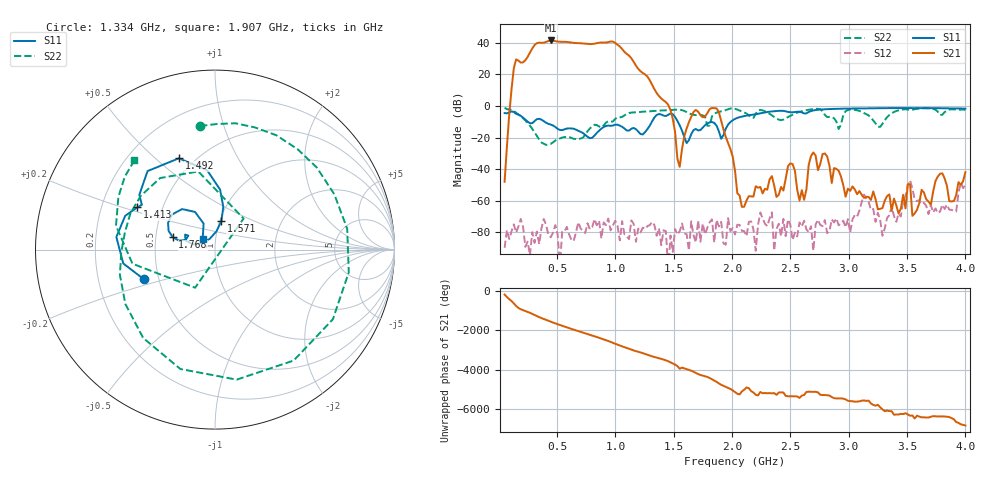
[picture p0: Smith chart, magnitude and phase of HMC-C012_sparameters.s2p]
!Hittite Microwave Corporation
!20 Alpha Road
!Chelmsford, MA 01824
!Tel: 978-250-3343
!Fax: 978-250-3373
!Device: HMC-C012,0.4-1.0 GHz, 10W PA Module
!Misc: Vdd = +12V, Idd = 6.5 A, Room Temperature
# GHZ S DB R 50
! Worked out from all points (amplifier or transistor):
!   201 points, 50 MHz to 4 GHz, reference 50 ohm
!   highest |S21| = 41.3 dB at 445 MHz (marker M1)
!   |S21| within 3 dB of that: 305.8 MHz to 1.024 GHz (717.8 MHz wide, 108 % of centre)
!   unconditionally stable (mu >= 1): start of sweep to end of sweep
!   at 701.8 MHz: K = 38.18, MAG = 39.7 dB, |S12| = -77.5 dB
!   at 2.025 GHz: K = 192968.79, MAG = -35.6 dB, |S12| = -81.3 dB
!   at 4 GHz: K = 2848.34, MAG = -33.5 dB, |S12| = -50.0 dB
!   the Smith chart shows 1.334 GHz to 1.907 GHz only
!   S11 on the Smith chart (normalised r, x): 1.334 GHz: 0.41, -0.17; 1.413 GHz: 0.36, +0.22; 1.492 GHz: 0.41, +0.60; 1.571 GHz: 1.02, +0.34; 1.768 GHz: 0.61, +0.09; 1.907 GHz: 0.87, +0.11
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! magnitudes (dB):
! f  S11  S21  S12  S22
! 50 MHz  -4.5  -47.9  -89.7  -1.2
! 148.8 MHz  -5.1  29.4  -80.0  -4.3
! 445 MHz  -11.8  41.3  -83.0  -24.0
! 721.5 MHz  -17.2  39.5  -78.9  -20.1
! 1.334 GHz  -7.4  10.6  -75.2  -3.2
! 1.373 GHz  -5.1  6.2  -77.3  -2.9
! 1.413 GHz  -6.2  3.4  -78.5  -2.8
! 1.492 GHz  -5.2  -8.3  -92.2  -2.5
! 1.571 GHz  -15.7  -27.3  -74.3  -2.7
! 1.768 GHz  -12.2  -6.7  -81.2  -7.0
! 1.907 GHz  -20.8  -9.3  -73.3  -3.5
! 2.025 GHz  -8.2  -40.9  -81.3  -1.9
! 2.084 GHz  -6.8  -63.9  -78.9  -3.5
! 2.499 GHz  -4.0  -36.3  -75.0  -6.3
! 2.618 GHz  -4.8  -59.4  -72.6  -3.0
! 2.696 GHz  -2.9  -29.4  -91.5  -2.0
! 2.973 GHz  -1.7  -57.4  -76.7  -3.4
! 3.348 GHz  -1.4  -56.0  -69.0  -5.7
! 3.526 GHz  -1.4  -49.5  -47.1  -2.6
! 3.546 GHz  -1.4  -69.5  -52.2  -2.4
! 3.684 GHz  -1.4  -60.5  -68.3  -1.6
! 4 GHz  -1.7  -41.9  -50.0  -2.6
